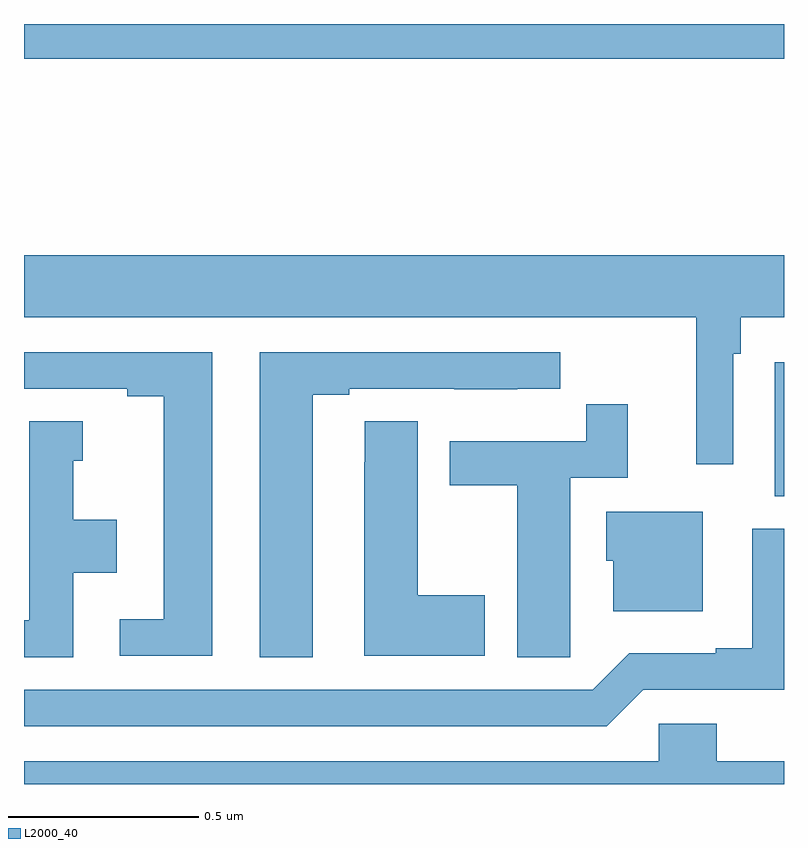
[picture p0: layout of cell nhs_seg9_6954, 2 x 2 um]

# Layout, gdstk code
import gdstk
lib = gdstk.Library(unit=1e-6, precision=1e-09)
def R(c, l, rs):  # rectangles x0, y0, x1, y1
    for r in rs: c.add(gdstk.rectangle(r[:2], r[2:], *l))
def P(c, l, *ps):  # polygons
    for p in ps: c.add(gdstk.Polygon(p, *l))
L2000_40 = (2000, 40)

nhs_seg9_6954 = lib.new_cell('nhs_seg9_6954')
R(nhs_seg9_6954, L2000_40, [(199.976,1221.257,200,1221.61), (198,1222.408,200,1222.5)])
P(nhs_seg9_6954, L2000_40, [(199.866,1221.632),(199.886,1221.632),(199.886,1221.728),(200,1221.728),(200,1221.892),(198,1221.892),(198,1221.728),(199.769,1221.728),(199.769,1221.342),(199.866,1221.342)],
  [(198.496,1221.636),(198,1221.636),(198,1221.54),(198.272,1221.54),(198.272,1221.52),(198.368,1221.52),(198.368,1220.934),(198.252,1220.934),(198.252,1220.838),(198.496,1220.838)],
  [(198.76,1221.525),(198.856,1221.525),(198.856,1221.54),(199.132,1221.54),(199.132,1221.539),(199.298,1221.539),(199.298,1221.54),(199.411,1221.54),(199.411,1221.636),(198.62,1221.636),(198.62,1220.833),(198.76,1220.833)],
  [(199.437,1220.944),(199.438,1220.944),(199.438,1221.306),(199.589,1221.306),(199.589,1221.499),(199.48,1221.499),(199.48,1221.402),(199.121,1221.402),(199.121,1221.286),(199.298,1221.286),(199.298,1220.833),(199.437,1220.833)],
  [(199.213,1220.997),(199.036,1220.997),(199.036,1221.455),(198.897,1221.455),(198.897,1221.347),(198.896,1221.347),(198.896,1220.837),(199.213,1220.837)],
  [(198.13,1221.056),(198.244,1221.056),(198.244,1221.196),(198.13,1221.196),(198.13,1221.351),(198.154,1221.351),(198.154,1221.454),(198.014,1221.454),(198.014,1220.931),(198,1220.931),(198,1220.833),(198.13,1220.833)],
  [(199.786,1221.217),(199.532,1221.217),(199.532,1221.087),(199.55,1221.087),(199.55,1220.954),(199.786,1220.954)],
  [(199.629,1220.748),(200,1220.748),(200,1221.172),(199.916,1221.172),(199.916,1220.857),(199.82,1220.857),(199.82,1220.844),(199.593,1220.844),(199.497,1220.748),(198,1220.748),(198,1220.652),(199.533,1220.652)],
  [(200,1220.56),(199.823,1220.56),(199.823,1220.658),(199.671,1220.658),(199.671,1220.56),(198,1220.56),(198,1220.5),(200,1220.5)])

lib.write_gds('nhs_seg9_6954.gds')
